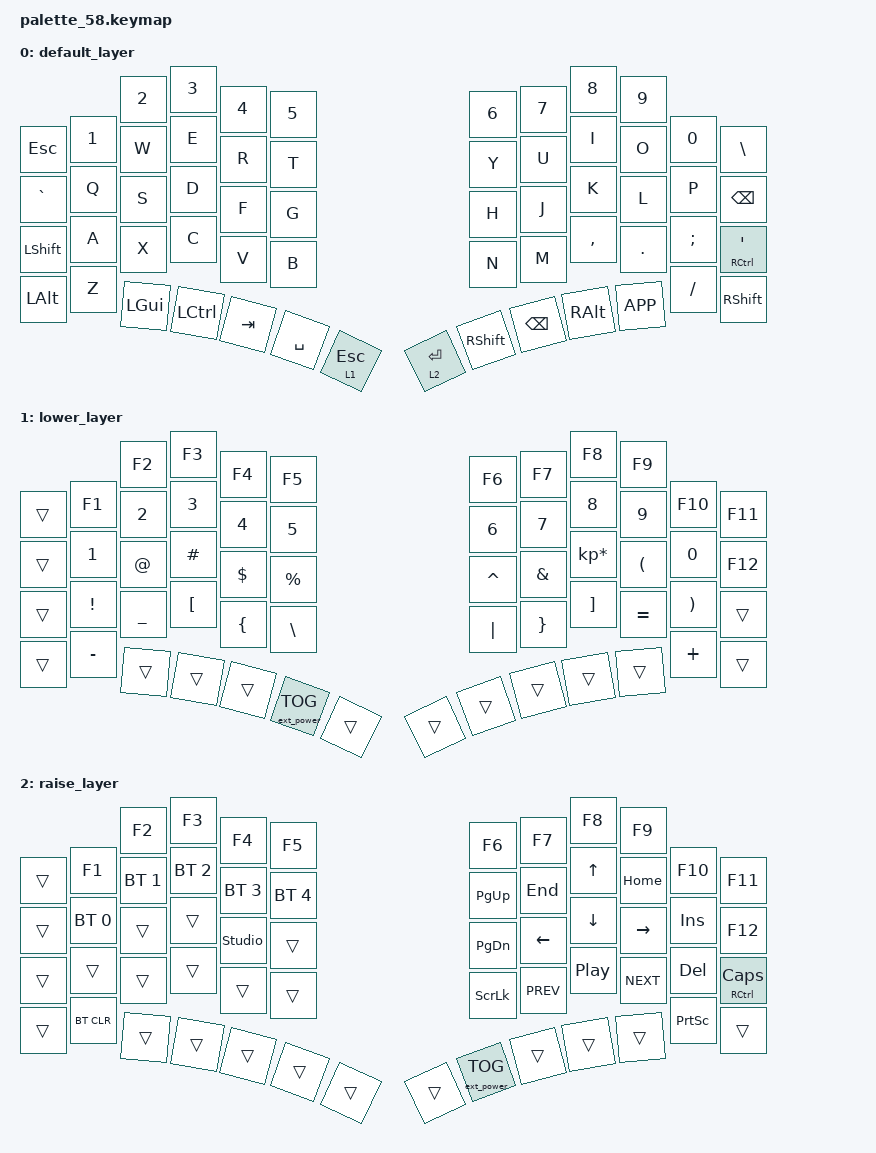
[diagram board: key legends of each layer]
#include <behaviors.dtsi>
#include <dt-bindings/zmk/keys.h>
#include <dt-bindings/zmk/bt.h>
#include <dt-bindings/zmk/ext_power.h>

/ {
    combos {
        compatible = "zmk,combos";
    };
};

/ {
    keymap {
        compatible = "zmk,keymap";

        default_layer {
// ------------------------------------------------------------------------------------------------------------
// |  ESC  |  1  |  2  |  3   |  4   |  5   |                   |  6   |  7    |  8    |  9   |   0   |   \   |
// |   `   |  Q  |  W  |  E   |  R   |  T   |                   |  Y   |  U    |  I    |  O   |   P   | BKSPC |
// | LSHFT |  A  |  S  |  D   |  F   |  G   |                   |  H   |  J    |  K    |  L   |   ;   |  C/'  |
// | LALT  |  Z  |  X  |  C   |  V   |  B   |                   |  N   |  M    |  ,    |  .   |   /   | SHIFT |
//         | GUI | CTRL | TAB | SPACE | LOWER/ESC |         | RAISE/ENTER| SHIFT | BKSPC | ALT | APP |
            bindings = <
&kp ESC   &kp N1 &kp N2    &kp N3    &kp N4         &kp N5                           &kp N6  &kp N7         &kp N8    &kp N9   &kp N0   &kp BSLH
&kp GRAVE &kp Q  &kp W     &kp E     &kp R          &kp T                            &kp Y   &kp U          &kp I     &kp O    &kp P    &kp BSPC
&kp LSHFT &kp A  &kp S     &kp D     &kp F          &kp G                            &kp H   &kp J          &kp K     &kp L    &kp SEMI &mt RCTRL SQT
&kp LALT  &kp Z  &kp X     &kp C     &kp V          &kp B                            &kp N   &kp M          &kp COMMA &kp DOT  &kp FSLH &kp RSHFT
             &kp LGUI  &kp LCTRL &kp TAB &kp SPACE &lt 1 ESC              &lt 2 ENTER &kp RSHFT &kp BSPC &kp RALT &kp K_APP 
            >;
        };

        lower_layer {
// ------------------------------------------------------------------------------------------------------------
// |       |  F1 |  F2 |  F3  |  F4  |  F5  |                   |  F6  |  F7   |  F8   |  F9  |  F10  |  F11  |
// |       |   1 |   2 |   3  |   4  |   5  |                   |   6  |   7   |   8   |   9  |    0  |  F12  |
// |       |  !  |  @  |  #   |  $   |  %   |                   |  ^   |  &    |  *    |  (   |   )   |       |
// |       |  -  |  _  |  [   |  {   |  \   |                   |  |   |  }    |  ]    |  =   |   +   |       |
//               |     |      |      |      |        |  |       |      |       |       |      |
            bindings = <
&trans &kp F1    &kp F2    &kp F3   &kp F4    &kp F5                           &kp F6    &kp F7   &kp F8          &kp F9    &kp F10   &kp F11
&trans &kp N1    &kp N2    &kp N3   &kp N4    &kp N5                           &kp N6    &kp N7   &kp N8          &kp N9    &kp N0    &kp F12
&trans &kp EXCL  &kp AT    &kp HASH &kp DLLR  &kp PRCNT                        &kp CARET &kp AMPS &kp KP_MULTIPLY &kp LPAR  &kp RPAR  &trans
&trans &kp MINUS &kp UNDER &kp LBKT &kp LBRC  &kp BSLH                         &kp PIPE  &kp RBRC &kp RBKT        &kp EQUAL &kp PLUS  &trans
          &trans    &trans   &trans    &ext_power EP_TOG &trans            &trans &trans    &trans   &trans          &trans
            >;
        };

        raise_layer {
// ------------------------------------------------------------------------------------------------------------
// |     |  F1  |  F2  |  F3   |  F4   |  F5  |                |  F6  |  F7  |  F8   |  F9  |  F10  |  F11  |
// |     | BT1  | BT2  |  BT3  |  BT4  |  BT5 |                | PGUP |  END |   ^   | HOME |  INS  |  F12  |
// |     |      |      |       |Unlock |      |                | PGDN |   <- |   v   | ->   |  DEL  | C/CAPS|
// |     |BTCLR |      |       |       |      |                | SCRL | PRVS | PLAY  | NEXT |  PSCR |       |
//              |      |       |       |      |      |  |      |      |      |       |      |
            bindings = <
&trans &kp F1          &kp F2          &kp F3          &kp F4          &kp F5                         &kp F6             &kp F7     &kp F8   &kp F9     &kp F10   &kp F11
&trans &bt BT_SEL 0    &bt BT_SEL 1    &bt BT_SEL 2    &bt BT_SEL 3    &bt BT_SEL 4                   &kp PG_UP          &kp END    &kp UP   &kp HOME   &kp INS   &kp F12
&trans &trans          &trans          &trans          &studio_unlock          &trans                         &kp PG_DN          &kp LEFT   &kp DOWN &kp RIGHT  &kp DEL   &mt RCTRL CLCK
&trans &bt BT_CLR      &trans          &trans          &trans          &trans                         &kp SLCK           &kp C_PREV &kp C_PP &kp C_NEXT &kp PSCRN &trans
               &trans          &trans          &trans          &trans          &trans            &trans &ext_power EP_TOG  &trans     &trans   &trans
            >;
        };
    };
 };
